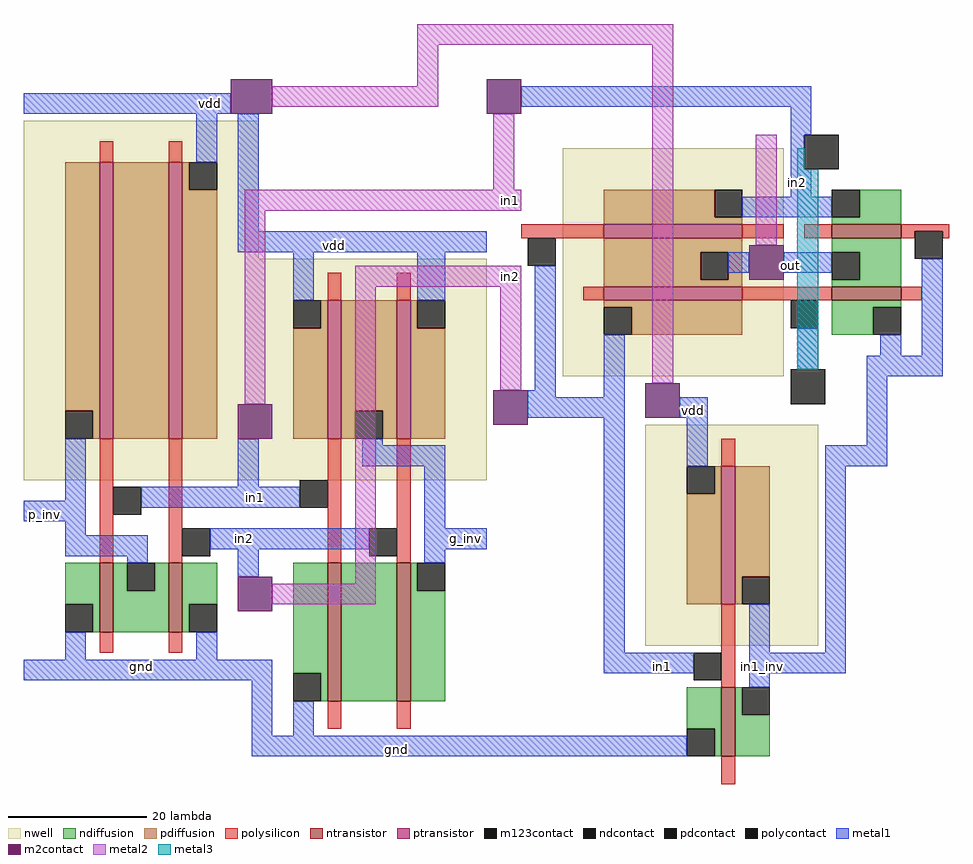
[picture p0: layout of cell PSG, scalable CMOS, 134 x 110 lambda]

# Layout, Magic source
magic
tech scmos
<< nwell >>
rect -22 219 12 239
rect -22 187 45 219
rect 56 202 88 235
rect 68 163 93 195
<< ntransistor >>
rect 95 222 105 224
rect 95 213 105 215
rect -11 165 -9 175
rect -1 165 1 175
rect 22 155 24 175
rect 32 155 34 175
rect 79 147 81 157
<< ptransistor >>
rect -11 193 -9 233
rect -1 193 1 233
rect 62 222 82 224
rect 62 213 82 215
rect 22 193 24 213
rect 32 193 34 213
rect 79 169 81 189
<< ndiffusion >>
rect 99 225 105 229
rect 95 224 105 225
rect 95 220 105 222
rect 99 216 105 220
rect 95 215 105 216
rect 95 212 105 213
rect 95 208 101 212
rect -16 169 -11 175
rect -12 165 -11 169
rect -9 171 -7 175
rect -3 171 -1 175
rect -9 165 -1 171
rect 1 169 6 175
rect 1 165 2 169
rect 17 159 22 175
rect 21 155 22 159
rect 24 155 32 175
rect 34 171 35 175
rect 34 155 39 171
rect 74 151 79 157
rect 78 147 79 151
rect 81 153 82 157
rect 81 147 86 153
<< pdiffusion >>
rect -16 197 -11 233
rect -12 193 -11 197
rect -9 193 -1 233
rect 1 229 2 233
rect 1 193 6 229
rect 62 225 78 229
rect 62 224 82 225
rect 62 220 82 222
rect 62 216 76 220
rect 80 216 82 220
rect 62 215 82 216
rect 21 209 22 213
rect 17 193 22 209
rect 24 197 32 213
rect 24 193 26 197
rect 30 193 32 197
rect 34 209 35 213
rect 34 193 39 209
rect 62 212 82 213
rect 66 208 82 212
rect 78 185 79 189
rect 74 169 79 185
rect 81 173 86 189
rect 81 169 82 173
<< ndcontact >>
rect 95 225 99 229
rect 95 216 99 220
rect 101 208 105 212
rect -16 165 -12 169
rect -7 171 -3 175
rect 2 165 6 169
rect 17 155 21 159
rect 35 171 39 175
rect 74 147 78 151
rect 82 153 86 157
<< pdcontact >>
rect -16 193 -12 197
rect 2 229 6 233
rect 78 225 82 229
rect 76 216 80 220
rect 17 209 21 213
rect 26 193 30 197
rect 35 209 39 213
rect 62 208 66 212
rect 74 185 78 189
rect 82 169 86 173
<< polysilicon >>
rect -11 233 -9 236
rect -1 233 1 236
rect 50 222 62 224
rect 82 222 88 224
rect 91 222 95 224
rect 105 223 112 224
rect 105 222 107 223
rect 22 213 24 217
rect 32 213 34 217
rect 111 222 112 223
rect 59 213 62 215
rect 82 213 95 215
rect 105 213 108 215
rect -11 175 -9 193
rect -1 175 1 193
rect 22 175 24 193
rect 32 175 34 193
rect 79 189 81 193
rect -11 162 -9 165
rect -1 162 1 165
rect 79 157 81 169
rect 22 151 24 155
rect 32 151 34 155
rect 79 143 81 147
<< polycontact >>
rect 51 218 55 222
rect 107 219 111 223
rect 89 209 93 213
rect -9 182 -5 186
rect 18 183 22 187
rect 1 176 5 180
rect 28 176 32 180
rect 75 158 79 162
<< metal1 >>
rect -22 240 8 243
rect 50 241 92 244
rect 3 233 6 240
rect 9 223 12 240
rect 89 237 92 241
rect 89 232 91 237
rect 89 228 92 232
rect 82 225 95 228
rect 9 220 45 223
rect 17 213 20 220
rect 35 213 39 220
rect 52 200 55 218
rect 80 217 83 220
rect 88 217 95 220
rect 51 199 55 200
rect 62 199 65 208
rect 90 203 93 209
rect 102 205 105 208
rect 108 205 111 219
rect 51 196 65 199
rect 73 196 77 199
rect 100 202 111 205
rect -16 184 -13 193
rect 9 186 12 193
rect 27 192 30 193
rect 27 189 39 192
rect -22 181 -13 184
rect -5 183 18 186
rect -16 179 -13 181
rect 36 180 39 189
rect -16 176 -4 179
rect 5 177 28 180
rect -7 175 -4 176
rect 9 173 12 177
rect 36 177 45 180
rect 36 175 39 177
rect -16 161 -13 165
rect 3 161 6 165
rect 62 162 65 196
rect 74 189 77 196
rect 100 192 103 202
rect 94 189 103 192
rect 83 162 86 169
rect 94 162 97 189
rect -22 158 14 161
rect 62 159 75 162
rect 11 150 14 158
rect 83 159 97 162
rect 83 157 86 159
rect 17 150 20 155
rect 11 147 74 150
<< m2contact >>
rect 8 240 14 245
rect 45 240 50 245
rect 83 216 88 221
rect 9 193 14 198
rect 46 195 51 200
rect 68 196 73 201
rect 9 168 14 173
<< metal2 >>
rect 35 250 72 253
rect 35 244 38 250
rect 14 241 38 244
rect 46 229 49 240
rect 10 226 50 229
rect 10 198 13 226
rect 26 215 50 218
rect 26 172 29 215
rect 47 200 50 215
rect 69 201 72 250
rect 84 221 87 237
rect 14 169 29 172
<< m123contact >>
rect 91 232 96 237
rect 89 198 94 203
<< metal3 >>
rect 90 232 91 235
rect 90 203 93 232
<< labels >>
rlabel metal1 5 241 5 242 5 vdd
rlabel metal1 -5 160 -5 160 1 gnd
rlabel metal1 23 221 23 221 5 vdd
rlabel metal1 32 148 32 148 1 gnd
rlabel metal1 6 183 17 186 1 in1
rlabel metal1 7 177 13 180 1 in2
rlabel metal2 47 226 50 229 1 in1
rlabel metal2 47 215 50 218 1 in2
rlabel metal1 -21 181 -17 183 3 p_inv
rlabel metal1 39 177 45 180 1 g_inv
rlabel metal3 90 230 90 230 7 in2
rlabel metal1 89 218 89 218 7 out
rlabel metal1 75 197 75 197 7 vdd
rlabel metal1 69 159 72 161 3 in1
rlabel metal1 85 160 85 160 1 in1_inv
<< end >>
